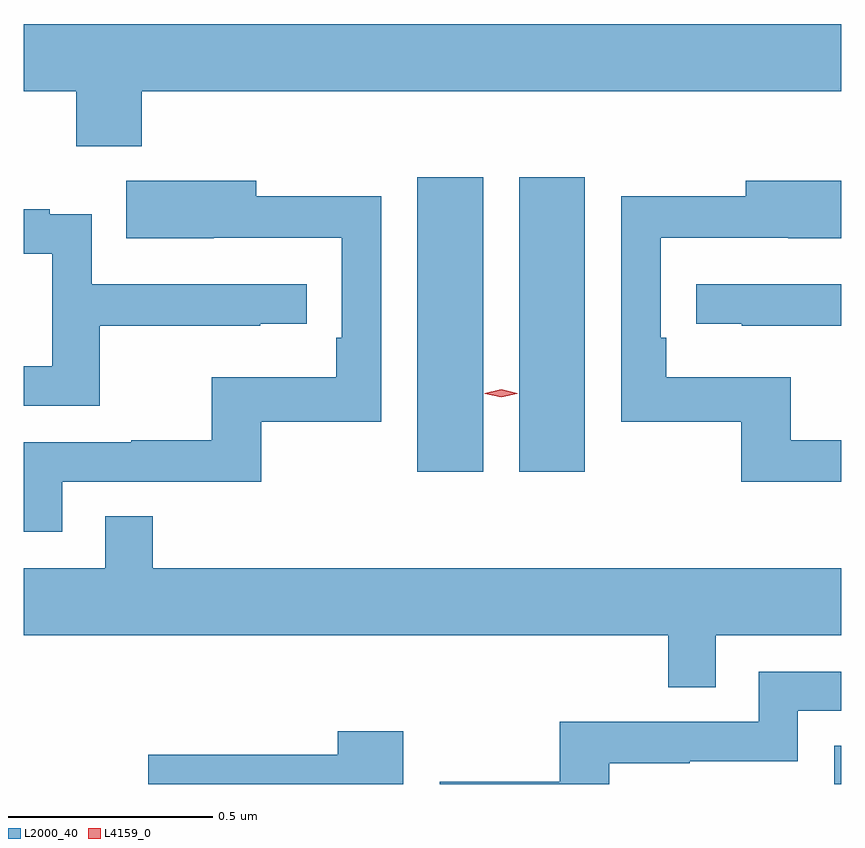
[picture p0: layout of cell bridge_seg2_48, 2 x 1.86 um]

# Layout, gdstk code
import gdstk
lib = gdstk.Library(unit=1e-6, precision=1e-09)
def R(c, l, rs):  # rectangles x0, y0, x1, y1
    for r in rs: c.add(gdstk.rectangle(r[:2], r[2:], *l))
def P(c, l, *ps):  # polygons
    for p in ps: c.add(gdstk.Polygon(p, *l))
L2000_40 = (2000, 40)
L4159_0 = (4159, 0)

bridge_seg2_48 = lib.new_cell('bridge_seg2_48')
R(bridge_seg2_48, L2000_40, [(950.009,647.272,950.026,647.366), (948.989,648.036,949.15,648.757), (949.238,648.036,949.399,648.757)])
P(bridge_seg2_48, L2000_40, [(948.314,648.968),(950.026,648.968),(950.026,649.132),(948.026,649.132),(948.026,648.968),(948.154,648.968),(948.154,648.833),(948.314,648.833)],
  [(948.12,648.012),(948.607,648.012),(948.607,648.159),(948.9,648.159),(948.9,648.71),(948.595,648.71),(948.595,648.748),(948.277,648.748),(948.277,648.608),(948.491,648.608),(948.491,648.609),(948.804,648.609),(948.804,648.364),(948.791,648.364),(948.791,648.268),(948.486,648.268),(948.486,648.113),(948.289,648.113),(948.289,648.108),(948.026,648.108),(948.026,647.889),(948.12,647.889)],
  [(950.026,648.113),(949.903,648.113),(949.903,648.268),(949.598,648.268),(949.598,648.364),(949.584,648.364),(949.584,648.609),(949.897,648.609),(949.897,648.608),(950.026,648.608),(950.026,648.748),(949.793,648.748),(949.793,648.71),(949.488,648.71),(949.488,648.159),(949.782,648.159),(949.782,648.012),(950.026,648.012)],
  [(948.212,648.394),(948.605,648.394),(948.605,648.399),(948.718,648.399),(948.718,648.495),(948.192,648.495),(948.192,648.667),(948.089,648.667),(948.089,648.679),(948.026,648.679),(948.026,648.57),(948.096,648.57),(948.096,648.294),(948.026,648.294),(948.026,648.198),(948.212,648.198)],
  [(950.026,648.495),(949.671,648.495),(949.671,648.399),(949.783,648.399),(949.783,648.394),(950.026,648.394)],
  [(949.719,647.636),(950.026,647.636),(950.026,647.8),(948.341,647.8),(948.341,647.927),(948.225,647.927),(948.225,647.8),(948.026,647.8),(948.026,647.636),(949.603,647.636),(949.603,647.509),(949.719,647.509)],
  [(949.459,647.323),(949.655,647.323),(949.655,647.328),(949.92,647.328),(949.92,647.451),(950.026,647.451),(950.026,647.547),(949.824,647.547),(949.824,647.424),(949.338,647.424),(949.338,647.278),(949.044,647.278),(949.044,647.272),(949.459,647.272)],
  [(948.955,647.401),(948.794,647.401),(948.794,647.343),(948.33,647.343),(948.33,647.272),(948.955,647.272)])
P(bridge_seg2_48, L4159_0, [(949.194,648.218),(949.154,648.227),(949.154,648.228),(949.154,648.228),(949.194,648.238),(949.234,648.228),(949.234,648.228),(949.234,648.227)])

lib.write_gds('bridge_seg2_48.gds')
